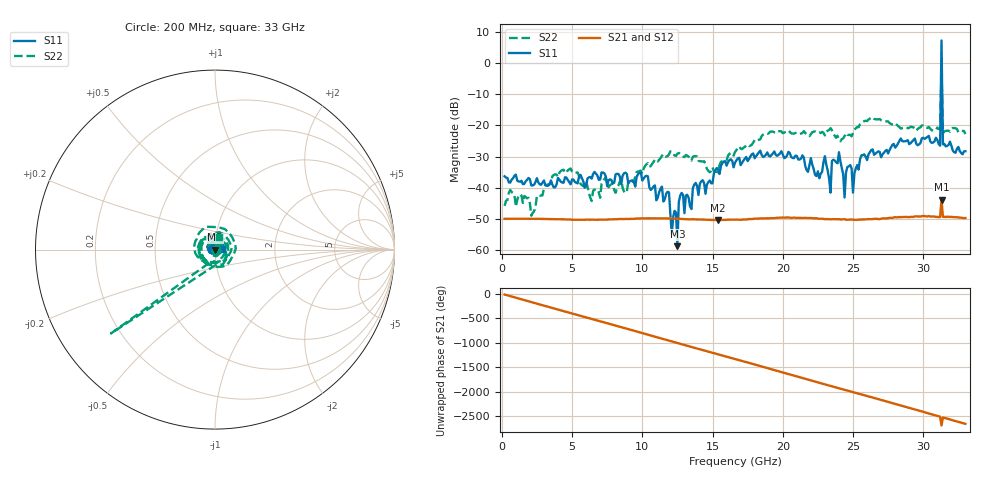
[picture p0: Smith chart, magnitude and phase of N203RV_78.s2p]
# GHZ S RI R 50
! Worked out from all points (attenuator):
!   329 points, 200 MHz to 33 GHz, reference 50 ohm
!   highest |S21| = -43.75 dB at 31.3 GHz (marker M1); lowest = -50.3 dB at 15.4 GHz (marker M2)
!   lowest |S11| = -58.7 dB at 12.5 GHz (marker M3), VSWR 1.00, Z = 50 - j0.115 ohm
!   |S11| at or under -10 dB: start of sweep to 31.25 GHz; 31.35 GHz to end of sweep
!   |S22| runs from -48.9 to -2.6 dB; largest |S21 - S12| = 7.4e-05
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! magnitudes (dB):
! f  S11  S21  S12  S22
! 200 MHz  -36.3  -49.9  -49.9  -45.8
! 5.7 GHz  -36.9  -50.2  -50.2  -39.1
! 11.2 GHz  -41.4  -49.8  -49.8  -31.0
! 12.1 GHz  -54.9  -49.8  -49.8  -28.9
! 12.4 GHz  -48.0  -49.8  -49.8  -29.8
! 12.5 GHz  -58.7  -49.9  -49.9  -29.0
! 12.8 GHz  -41.6  -50.0  -49.9  -29.3
! 15.4 GHz  -34.1  -50.3  -50.3  -35.1
! 16.6 GHz  -31.9  -50.2  -50.2  -28.5
! 22.1 GHz  -32.5  -49.7  -49.7  -22.1
! 23 GHz  -29.9  -50.1  -50.0  -23.2
! 23.4 GHz  -41.6  -50.1  -50.1  -20.9
! 24 GHz  -28.6  -50.0  -50.1  -24.7
! 24.4 GHz  -43.1  -50.1  -50.0  -23.4
! 24.6 GHz  -33.3  -50.3  -50.2  -23.0
! 25 GHz  -41.5  -50.3  -50.2  -22.4
! 25.6 GHz  -29.5  -50.2  -50.1  -19.0
! 27.6 GHz  -27.9  -49.6  -49.7  -19.2
! 31.2 GHz  -26.5  -49.4  -49.3  -21.2
! 31.3 GHz  7.3  -43.8  -43.8  -2.6
! 31.4 GHz  -26.1  -49.3  -49.3  -22.5
! 33 GHz  -28.3  -49.7  -49.7  -22.7
